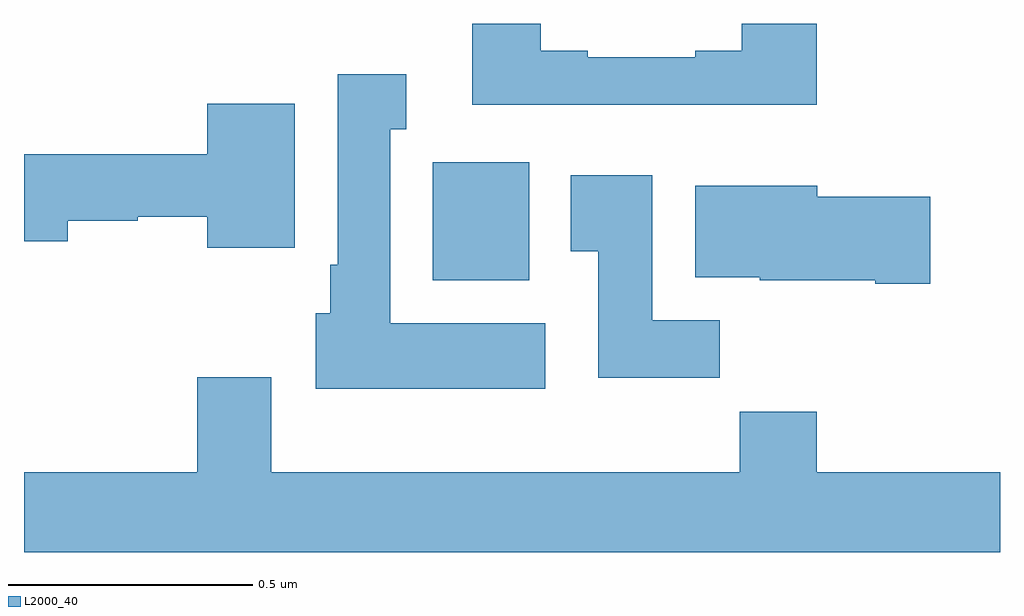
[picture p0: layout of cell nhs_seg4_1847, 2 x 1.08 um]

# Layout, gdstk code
import gdstk
lib = gdstk.Library(unit=1e-6, precision=1e-09)
def R(c, l, rs):  # rectangles x0, y0, x1, y1
    for r in rs: c.add(gdstk.rectangle(r[:2], r[2:], *l))
def P(c, l, *ps):  # polygons
    for p in ps: c.add(gdstk.Polygon(p, *l))
L2000_40 = (2000, 40)

nhs_seg4_1847 = lib.new_cell('nhs_seg4_1847')
R(nhs_seg4_1847, L2000_40, [(133.838,801.374,134.035,801.616)])
P(nhs_seg4_1847, L2000_40, [(134.624,801.9),(134.471,801.9),(134.471,801.844),(134.375,801.844),(134.375,801.831),(134.155,801.831),(134.155,801.844),(134.059,801.844),(134.059,801.9),(133.919,801.9),(133.919,801.734),(134.624,801.734)],
  [(134.068,801.286),(133.75,801.286),(133.75,801.683),(133.783,801.683),(133.783,801.796),(133.643,801.796),(133.643,801.406),(133.628,801.406),(133.628,801.306),(133.598,801.306),(133.598,801.152),(134.068,801.152)],
  [(133.555,801.736),(133.376,801.736),(133.376,801.632),(133,801.632),(133,801.454),(133.09,801.454),(133.09,801.496),(133.233,801.496),(133.233,801.504),(133.376,801.504),(133.376,801.44),(133.555,801.44)],
  [(134.426,801.292),(134.287,801.292),(134.287,801.589),(134.12,801.589),(134.12,801.433),(134.177,801.433),(134.177,801.174),(134.426,801.174)],
  [(134.857,801.545),(134.626,801.545),(134.626,801.568),(134.375,801.568),(134.375,801.38),(134.508,801.38),(134.508,801.374),(134.744,801.374),(134.744,801.367),(134.857,801.367)],
  [(135,800.98),(134.624,800.98),(134.624,801.104),(134.467,801.104),(134.467,800.98),(133.507,800.98),(133.507,801.175),(133.355,801.175),(133.355,800.98),(133,800.98),(133,800.816),(135,800.816)])

lib.write_gds('nhs_seg4_1847.gds')
